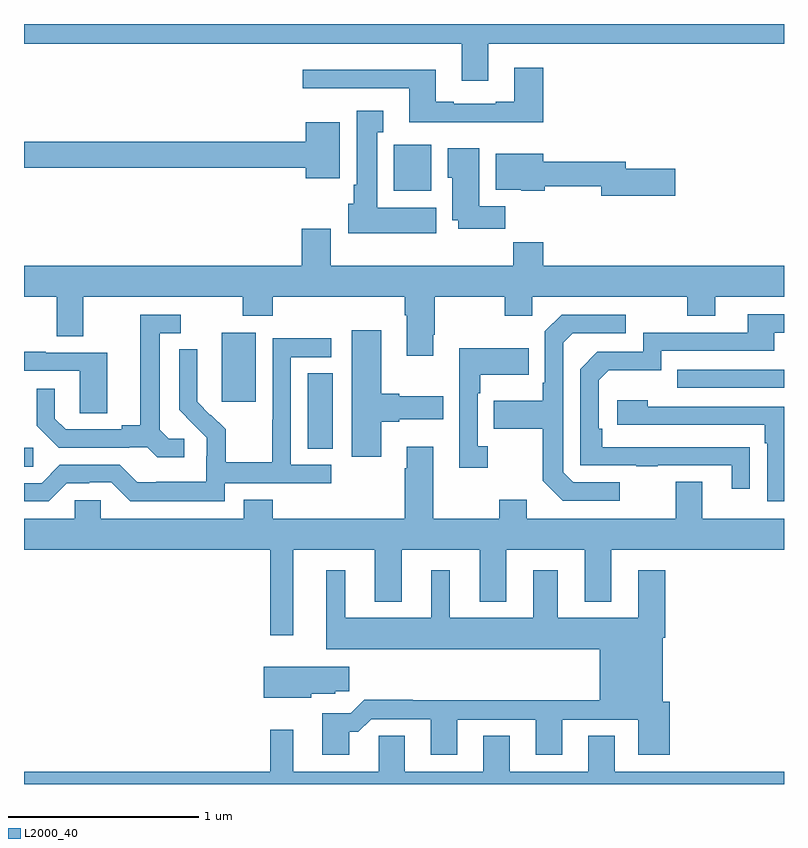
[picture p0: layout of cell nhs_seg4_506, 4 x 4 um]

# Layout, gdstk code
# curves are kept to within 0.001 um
import gdstk
lib = gdstk.Library(unit=1e-6, precision=1e-09)
def R(c, l, rs):  # rectangles x0, y0, x1, y1
    for r in rs: c.add(gdstk.rectangle(r[:2], r[2:], *l))
def P(c, l, *ps):  # polygons
    for p in ps: c.add(gdstk.Polygon(p, *l))
L2000_40 = (2000, 40)

nhs_seg4_506 = lib.new_cell('nhs_seg4_506')
R(nhs_seg4_506, L2000_40, [(135,818.569,135.049,818.67), (136.493,818.665,136.624,819.062), (136.04,818.913,136.219,819.274), (138.439,818.985,139,819.081), (136.946,820.022,137.143,820.264)])
P(nhs_seg4_506, L2000_40, [(137.443,820.796),(139,820.796),(139,820.9),(135,820.9),(135,820.796),(137.303,820.796),(137.303,820.602),(137.443,820.602)],
  [(137.732,820.669),(137.579,820.669),(137.579,820.492),(137.483,820.492),(137.483,820.479),(137.263,820.479),(137.263,820.492),(137.167,820.492),(137.167,820.66),(136.467,820.66),(136.467,820.563),(137.027,820.563),(137.027,820.382),(137.732,820.382)],
  [(137.17,819.934),(136.858,819.934),(136.858,820.331),(136.891,820.331),(136.891,820.444),(136.751,820.444),(136.751,820.054),(136.736,820.054),(136.736,819.954),(136.706,819.954),(136.706,819.8),(137.17,819.8)],
  [(136.663,820.384),(136.484,820.384),(136.484,820.28),(135,820.28),(135,820.144),(136.484,820.144),(136.484,820.088),(136.663,820.088)],
  [(137.534,819.94),(137.395,819.94),(137.395,820.246),(137.231,820.246),(137.231,820.092),(137.255,820.092),(137.255,819.866),(137.285,819.866),(137.285,819.822),(137.534,819.822)],
  [(138.427,820.139),(138.166,820.139),(138.166,820.175),(137.734,820.175),(137.734,820.216),(137.483,820.216),(137.483,820.028),(137.616,820.028),(137.616,820.022),(137.742,820.022),(137.742,820.047),(138.038,820.047),(138.038,819.997),(138.427,819.997)],
  [(137.155,819.265),(137.163,819.265),(137.163,819.464),(137.53,819.464),(137.53,819.365),(137.676,819.365),(137.676,819.464),(138.49,819.464),(138.49,819.365),(138.637,819.365),(138.637,819.464),(139,819.464),(139,819.628),(137.732,819.628),(137.732,819.752),(137.575,819.752),(137.575,819.628),(136.615,819.628),(136.615,819.823),(136.463,819.823),(136.463,819.628),(135,819.628),(135,819.464),(135.173,819.464),(135.173,819.256),(135.313,819.256),(135.313,819.464),(136.15,819.464),(136.15,819.365),(136.31,819.365),(136.31,819.464),(137.003,819.464),(137.003,819.368),(137.015,819.368),(137.015,819.153),(137.155,819.153)],
  [(138.821,818.672),(138.044,818.673),(138.044,818.77),(138.024,818.77),(138.024,819.024),(138.077,819.077),(138.354,819.077),(138.354,819.18),(138.949,819.18),(138.949,819.276),(139,819.276),(139,819.372),(138.809,819.372),(138.809,819.276),(138.258,819.276),(138.258,819.174),(138.018,819.174),(137.928,819.084),(137.928,818.577),(138.223,818.577),(138.223,818.572),(138.335,818.572),(138.335,818.577),(138.725,818.577),(138.725,818.454),(138.821,818.454)],
  [(135.844,818.718),(135.762,818.718),(135.715,818.765),(135.715,819.273),(135.826,819.273),(135.826,819.369),(135.611,819.369),(135.611,818.789),(135.515,818.789),(135.515,818.766),(135.22,818.766),(135.163,818.823),(135.163,818.98),(135.066,818.98),(135.066,818.786),(135.182,818.67),(135.554,818.67),(135.554,818.673),(135.648,818.673),(135.7,818.621),(135.844,818.621)],
  [(138.136,818.487),(137.892,818.487),(137.838,818.541),(137.838,819.222),(137.889,819.273),(138.166,819.273),(138.166,819.369),(137.829,819.369),(137.742,819.282),(137.742,819.013),(137.73,819.013),(137.73,818.917),(137.473,818.917),(137.473,818.77),(137.73,818.77),(137.73,818.497),(137.835,818.391),(138.136,818.391)],
  [(136.879,818.807),(136.975,818.807),(136.975,818.819),(137.206,818.819),(137.206,818.941),(136.975,818.941),(136.975,818.954),(136.879,818.954),(136.879,819.289),(136.724,819.289),(136.724,818.622),(136.879,818.622)],
  [(136.056,818.484),(136.618,818.484),(136.618,818.58),(136.404,818.58),(136.404,819.147),(136.618,819.147),(136.618,819.246),(136.308,819.246),(136.308,818.816),(136.306,818.816),(136.306,818.593),(136.061,818.593),(136.061,818.767),(135.984,818.844),(135.981,818.841),(135.911,818.912),(135.912,819.188),(135.816,819.188),(135.816,818.87),(135.962,818.722),(135.962,818.625),(135.96,818.625),(135.96,818.491),(135.697,818.491),(135.697,818.487),(135.597,818.487),(135.504,818.58),(135.189,818.58),(135.093,818.484),(135,818.484),(135,818.388),(135.129,818.388),(135.225,818.484),(135.344,818.484),(135.344,818.487),(135.459,818.487),(135.559,818.387),(136.056,818.387)],
  [(137.44,818.678),(137.388,818.678),(137.388,818.957),(137.401,818.957),(137.401,819.053),(137.657,819.053),(137.657,819.193),(137.292,819.193),(137.292,818.565),(137.44,818.565)],
  [(135.439,819.171),(135.115,819.171),(135.115,819.175),(135,819.175),(135,819.075),(135.294,819.075),(135.294,818.851),(135.439,818.851)],
  [(139,818.886),(138.284,818.886),(138.284,818.92),(138.123,818.92),(138.123,818.79),(138.899,818.79),(138.899,818.693),(138.912,818.693),(138.912,818.388),(139,818.388)],
  [(137.647,818.395),(137.5,818.395),(137.5,818.296),(137.155,818.296),(137.155,818.674),(137.015,818.674),(137.015,818.561),(137.003,818.561),(137.003,818.296),(136.31,818.296),(136.31,818.395),(136.157,818.395),(136.157,818.296),(135.405,818.296),(135.405,818.394),(135.267,818.394),(135.267,818.296),(135,818.296),(135,818.132),(136.296,818.132),(136.296,817.683),(136.417,817.683),(136.417,818.132),(136.847,818.132),(136.847,817.859),(136.987,817.859),(136.987,818.132),(137.399,818.132),(137.399,817.859),(137.539,817.859),(137.539,818.132),(137.951,818.132),(137.951,817.859),(138.091,817.859),(138.091,818.132),(139,818.132),(139,818.296),(138.571,818.296),(138.571,818.491),(138.431,818.491),(138.431,818.296),(137.647,818.296)],
  [(136.711,817.175),(136.76,817.175),(136.827,817.242),(137.141,817.242),(137.141,817.053),(137.281,817.053),(137.281,817.239),(137.693,817.239),(137.693,817.053),(137.833,817.053),(137.833,817.239),(138.233,817.239),(138.233,817.053),(138.398,817.053),(138.398,817.332),(138.361,817.332),(138.361,817.67),(138.374,817.67),(138.374,818.026),(138.233,818.026),(138.233,817.774),(137.809,817.774),(137.809,818.026),(137.681,818.026),(137.681,817.774),(137.242,817.774),(137.242,818.026),(137.144,818.026),(137.144,817.774),(136.69,817.774),(136.69,818.026),(136.592,818.026),(136.592,817.61),(138.029,817.61),(138.029,817.34),(137.045,817.34),(137.045,817.343),(136.79,817.343),(136.719,817.272),(136.571,817.272),(136.571,817.053),(136.711,817.053)],
  [(136.512,817.376),(136.638,817.376),(136.638,817.387),(136.711,817.387),(136.711,817.516),(136.262,817.516),(136.262,817.355),(136.512,817.355)],
  [(139,816.964),(138.109,816.964),(138.109,817.154),(137.969,817.154),(137.969,816.964),(137.557,816.964),(137.557,817.154),(137.417,817.154),(137.417,816.964),(137.005,816.964),(137.005,817.154),(136.866,817.154),(136.866,816.964),(136.417,816.964),(136.417,817.186),(136.296,817.186),(136.296,816.964),(135,816.964),(135,816.9),(139,816.9)])

lib.write_gds('nhs_seg4_506.gds')
